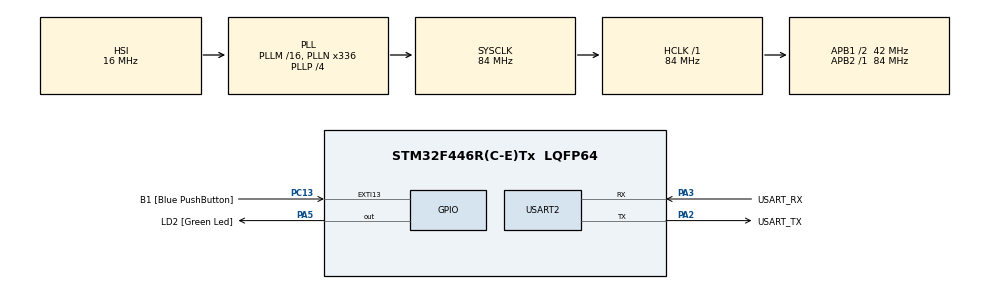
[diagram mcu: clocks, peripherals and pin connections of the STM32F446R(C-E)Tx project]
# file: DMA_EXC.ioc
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Mcu.Family=STM32F4
PH0-OSC_IN.Signal=RCC_OSC_IN
RCC.CortexFreq_Value=84000000
PA14.GPIO_Label=TCK
Dma.MEMTOMEM.1.FIFOMode=DMA_FIFOMODE_ENABLE
Dma.MEMTOMEM.1.PeriphInc=DMA_PINC_DISABLE
PC13.GPIO_Label=B1 [Blue PushButton]
Dma.MEMTOMEM.1.Priority=DMA_PRIORITY_LOW
RCC.SYSCLKSource=RCC_SYSCLKSOURCE_PLLCLK
ProjectManager.StackSize=0x400
Dma.USART2_RX.0.Priority=DMA_PRIORITY_LOW
Dma.USART2_RX.0.PeriphDataAlignment=DMA_PDATAALIGN_BYTE
RCC.HCLKFreq_Value=84000000
RCC.APB2TimFreq_Value=84000000
NVIC.DMA2_Stream0_IRQn=true\:0\:0\:false\:false\:true\:true\:true
RCC.AHBFreq_Value=84000000
PH0-OSC_IN.Mode=HSE-External-Oscillator
RCC.HSE_VALUE=8000000
Dma.MEMTOMEM.1.MemBurst=DMA_MBURST_SINGLE
Dma.USART2_RX.0.MemDataAlignment=DMA_MDATAALIGN_BYTE
PC14-OSC32_IN.Mode=LSE-External-Oscillator
PA14.Mode=Serial_Wire
Dma.USART2_RX.0.Instance=DMA1_Stream5
RCC.FLatency-AdvancedSettings=FLASH_LATENCY_2
Dma.MEMTOMEM.1.MemInc=DMA_MINC_DISABLE
PH1-OSC_OUT.Mode=HSE-External-Oscillator
Mcu.Package=LQFP64
Dma.MEMTOMEM.1.Instance=DMA2_Stream0
Dma.MEMTOMEM.1.PeriphBurst=DMA_PBURST_SINGLE
Dma.USART2_RX.0.PeriphInc=DMA_PINC_DISABLE
USART2.VirtualMode=VM_ASYNC
Dma.USART2_RX.0.FIFOMode=DMA_FIFOMODE_DISABLE
PA2.GPIO_Label=USART_TX
Dma.MEMTOMEM.1.FIFOThreshold=DMA_FIFO_THRESHOLD_FULL
Dma.Request1=MEMTOMEM
RCC.APB1TimFreq_Value=84000000
Dma.Request0=USART2_RX
PA3.Signal=USART2_RX
PB3.GPIO_Label=SWO
PC15-OSC32_OUT.Mode=LSE-External-Oscillator
PC13.Signal=GPXTI13
Dma.USART2_RX.0.Direction=DMA_PERIPH_TO_MEMORY
RCC.APB1CLKDivider=RCC_HCLK_DIV2
PC14-OSC32_IN.Signal=RCC_OSC32_IN
Dma.USART2_RX.0.Mode=DMA_NORMAL
PA13.Signal=SYS_JTMS-SWDIO
PA3.Mode=Asynchronous
ProjectManager.TargetToolchain=STM32CubeIDE
NVIC.DMA1_Stream5_IRQn=true\:0\:0\:false\:false\:true\:false\:true
RCC.USBFreq_Value=168000000
PC15-OSC32_OUT.Signal=RCC_OSC32_OUT
Dma.MEMTOMEM.1.Mode=DMA_NORMAL
PA5.Signal=GPIO_Output
board=NUCLEO-F446RE
RCC.VCOOutputFreq_Value=336000000
Dma.MEMTOMEM.1.MemDataAlignment=DMA_MDATAALIGN_BYTE
RCC.APB2Freq_Value=84000000
Dma.MEMTOMEM.1.PeriphDataAlignment=DMA_PDATAALIGN_BYTE
PH1-OSC_OUT.Signal=RCC_OSC_OUT
Dma.MEMTOMEM.1.Direction=DMA_MEMORY_TO_MEMORY
PA13.Mode=Serial_Wire
Mcu.Name=STM32F446R(C-E)Tx
Dma.USART2_RX.0.MemInc=DMA_MINC_ENABLE
PA13.GPIO_Label=TMS
PA2.Signal=USART2_TX
RCC.48MHZClocksFreq_Value=84000000
PB3.Signal=SYS_JTDO-SWO
RCC.SYSCLKFreq_VALUE=84000000
PA5.GPIO_Label=LD2 [Green Led]
PC13.GPIO_ModeDefaultEXTI=GPIO_MODE_IT_FALLING
PA14.Signal=SYS_JTCK-SWCLK
ProjectManager.HeapSize=0x200
RCC.HSI_VALUE=16000000
RCC.PLLP=RCC_PLLP_DIV4
NVIC.PriorityGroup=NVIC_PRIORITYGROUP_0
RCC.PLLN=336
PA2.Mode=Asynchronous
RCC.APB1Freq_Value=42000000
PA3.GPIO_Label=USART_RX

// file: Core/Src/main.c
/* USER CODE BEGIN Header */
/**
  ******************************************************************************
  * @file           : main.c
  * @brief          : Main program body
  ******************************************************************************
  * @attention
  *
  * <h2><center>&copy; Copyright (c) 2021 STMicroelectronics.
  * All rights reserved.</center></h2>
  *
  * This software component is licensed by ST under BSD 3-Clause license,
  * the "License"; You may not use this file except in compliance with the
  * License. You may obtain a copy of the License at:
  *                        opensource.org/licenses/BSD-3-Clause
  *
  ******************************************************************************
  */
/* USER CODE END Header */
#include "main.h"

/* USER CODE BEGIN PM */
#define OFFSET 			0x800UL
#define DEST 			(SRAM1_BASE + OFFSET)
/* USER CODE END PM */

UART_HandleTypeDef huart2;
DMA_HandleTypeDef hdma_usart2_rx;

DMA_HandleTypeDef hdma_memtomem_dma2_stream0;

void SystemClock_Config(void);
static void MX_GPIO_Init(void);
static void MX_DMA_Init(void);
static void MX_USART2_UART_Init(void);
/* USER CODE BEGIN PFP */
void my_Dma_TC_cb( DMA_HandleTypeDef *pHandle);
/* USER CODE END PFP */

/* USER CODE BEGIN 0 */
uint8_t led_data[2] = {0x96, 0x69};
uint32_t pres_tick;
volatile char* destination = (char*) SRAM2_BASE;

void derived(DMA_HandleTypeDef *hdma_memtomem_dma2_stream0, uint8_t led_data[2],uint32_t pres_tick, volatile char *destination);
/* USER CODE END 0 */

int main(void)
{

  /* MCU Configuration--------------------------------------------------------*/

  /* Reset of all peripherals, Initializes the Flash interface and the Systick. */
  HAL_Init();

  /* Configure the system clock */
  SystemClock_Config();

  /* Initialize all configured peripherals */
  MX_GPIO_Init();
  MX_DMA_Init();
  MX_USART2_UART_Init();
  /* USER CODE BEGIN 2 */
 // HAL_DMA_RegisterCallback(&hdma_memtomem_dma2_stream0, HAL_DMA_XFER_CPLT_CB_ID, &my_Dma_TC_cb);

  /* USER CODE END 2 */

  /* Infinite loop */
  while (1)
  {

    /* USER CODE BEGIN 3 */
		//derived(&hdma_memtomem_dma2_stream0, led_data, pres_tick, destination);
		HAL_UART_Receive_DMA(&huart2, (uint8_t *)DEST, 20);

  }
  /* USER CODE END 3 */
}

void SystemClock_Config(void)
{
  RCC_OscInitTypeDef RCC_OscInitStruct = {0};
  RCC_ClkInitTypeDef RCC_ClkInitStruct = {0};

  /** Configure the main internal regulator output voltage
  */
  __HAL_RCC_PWR_CLK_ENABLE();
  __HAL_PWR_VOLTAGESCALING_CONFIG(PWR_REGULATOR_VOLTAGE_SCALE3);
  /** Initializes the RCC Oscillators according to the specified parameters
  * in the RCC_OscInitTypeDef structure.
  */
  RCC_OscInitStruct.OscillatorType = RCC_OSCILLATORTYPE_HSI;
  RCC_OscInitStruct.HSIState = RCC_HSI_ON;
  RCC_OscInitStruct.HSICalibrationValue = RCC_HSICALIBRATION_DEFAULT;
  RCC_OscInitStruct.PLL.PLLState = RCC_PLL_ON;
  RCC_OscInitStruct.PLL.PLLSource = RCC_PLLSOURCE_HSI;
  RCC_OscInitStruct.PLL.PLLM = 16;
  RCC_OscInitStruct.PLL.PLLN = 336;
  RCC_OscInitStruct.PLL.PLLP = RCC_PLLP_DIV4;
  RCC_OscInitStruct.PLL.PLLQ = 2;
  RCC_OscInitStruct.PLL.PLLR = 2;
  if (HAL_RCC_OscConfig(&RCC_OscInitStruct) != HAL_OK)
  {
    Error_Handler();
  }
  /** Initializes the CPU, AHB and APB buses clocks
  */
  RCC_ClkInitStruct.ClockType = RCC_CLOCKTYPE_HCLK|RCC_CLOCKTYPE_SYSCLK
                              |RCC_CLOCKTYPE_PCLK1|RCC_CLOCKTYPE_PCLK2;
  RCC_ClkInitStruct.SYSCLKSource = RCC_SYSCLKSOURCE_PLLCLK;
  RCC_ClkInitStruct.AHBCLKDivider = RCC_SYSCLK_DIV1;
  RCC_ClkInitStruct.APB1CLKDivider = RCC_HCLK_DIV2;
  RCC_ClkInitStruct.APB2CLKDivider = RCC_HCLK_DIV1;

  if (HAL_RCC_ClockConfig(&RCC_ClkInitStruct, FLASH_LATENCY_2) != HAL_OK)
  {
    Error_Handler();
  }
}

static void MX_USART2_UART_Init(void)
{

  huart2.Instance = USART2;
  huart2.Init.BaudRate = 115200;
  huart2.Init.WordLength = UART_WORDLENGTH_8B;
  huart2.Init.StopBits = UART_STOPBITS_1;
  huart2.Init.Parity = UART_PARITY_NONE;
  huart2.Init.Mode = UART_MODE_TX_RX;
  huart2.Init.HwFlowCtl = UART_HWCONTROL_NONE;
  huart2.Init.OverSampling = UART_OVERSAMPLING_16;
  if (HAL_UART_Init(&huart2) != HAL_OK)
  {
    Error_Handler();
  }

}

static void MX_DMA_Init(void)
{

  /* DMA controller clock enable */
  __HAL_RCC_DMA1_CLK_ENABLE();
  __HAL_RCC_DMA2_CLK_ENABLE();

  /* Configure DMA request hdma_memtomem_dma2_stream0 on DMA2_Stream0 */
  hdma_memtomem_dma2_stream0.Instance = DMA2_Stream0;
  hdma_memtomem_dma2_stream0.Init.Channel = DMA_CHANNEL_0;
  hdma_memtomem_dma2_stream0.Init.Direction = DMA_MEMORY_TO_MEMORY;
  hdma_memtomem_dma2_stream0.Init.PeriphInc = DMA_PINC_DISABLE;
  hdma_memtomem_dma2_stream0.Init.MemInc = DMA_MINC_DISABLE;
  hdma_memtomem_dma2_stream0.Init.PeriphDataAlignment = DMA_PDATAALIGN_BYTE;
  hdma_memtomem_dma2_stream0.Init.MemDataAlignment = DMA_MDATAALIGN_BYTE;
  hdma_memtomem_dma2_stream0.Init.Mode = DMA_NORMAL;
  hdma_memtomem_dma2_stream0.Init.Priority = DMA_PRIORITY_LOW;
  hdma_memtomem_dma2_stream0.Init.FIFOMode = DMA_FIFOMODE_ENABLE;
  hdma_memtomem_dma2_stream0.Init.FIFOThreshold = DMA_FIFO_THRESHOLD_FULL;
  hdma_memtomem_dma2_stream0.Init.MemBurst = DMA_MBURST_SINGLE;
  hdma_memtomem_dma2_stream0.Init.PeriphBurst = DMA_PBURST_SINGLE;
  if (HAL_DMA_Init(&hdma_memtomem_dma2_stream0) != HAL_OK)
  {
    Error_Handler( );
  }

  /* DMA interrupt init */
  /* DMA1_Stream5_IRQn interrupt configuration */
  HAL_NVIC_SetPriority(DMA1_Stream5_IRQn, 0, 0);
  HAL_NVIC_EnableIRQ(DMA1_Stream5_IRQn);
  /* DMA2_Stream0_IRQn interrupt configuration */
  HAL_NVIC_SetPriority(DMA2_Stream0_IRQn, 0, 0);
  HAL_NVIC_EnableIRQ(DMA2_Stream0_IRQn);

}

static void MX_GPIO_Init(void)
{
  GPIO_InitTypeDef GPIO_InitStruct = {0};

  /* GPIO Ports Clock Enable */
  __HAL_RCC_GPIOC_CLK_ENABLE();
  __HAL_RCC_GPIOH_CLK_ENABLE();
  __HAL_RCC_GPIOA_CLK_ENABLE();
  __HAL_RCC_GPIOB_CLK_ENABLE();

  /*Configure GPIO pin Output Level */
  HAL_GPIO_WritePin(LD2_GPIO_Port, LD2_Pin, GPIO_PIN_RESET);

  /*Configure GPIO pin : B1_Pin */
  GPIO_InitStruct.Pin = B1_Pin;
  GPIO_InitStruct.Mode = GPIO_MODE_IT_FALLING;
  GPIO_InitStruct.Pull = GPIO_NOPULL;
  HAL_GPIO_Init(B1_GPIO_Port, &GPIO_InitStruct);

  /*Configure GPIO pin : LD2_Pin */
  GPIO_InitStruct.Pin = LD2_Pin;
  GPIO_InitStruct.Mode = GPIO_MODE_OUTPUT_PP;
  GPIO_InitStruct.Pull = GPIO_NOPULL;
  GPIO_InitStruct.Speed = GPIO_SPEED_FREQ_LOW;
  HAL_GPIO_Init(LD2_GPIO_Port, &GPIO_InitStruct);

}

/* USER CODE BEGIN 4 */
void my_Dma_TC_cb( DMA_HandleTypeDef *pHandle)
{

}

void HAL_UART_RxCpltCallback(UART_HandleTypeDef *huart)
{

  UNUSED(huart);

}

void derived(DMA_HandleTypeDef *hdma_memtomem_dma2_stream0, uint8_t led_data[2],uint32_t pres_tick, volatile char *destination) {
	/* USER CODE END WHILE */
	/* USER CODE BEGIN 3 */
	HAL_DMA_Start_IT(&*hdma_memtomem_dma2_stream0, (uint32_t) &led_data[0],
			(uint32_t) &destination[0], 1);
	pres_tick = HAL_GetTick();
	while ((pres_tick + 1000) >= HAL_GetTick());

	HAL_DMA_Start_IT(&*hdma_memtomem_dma2_stream0, (uint32_t) &led_data[1],
			(uint32_t) &destination[1], 1);
	pres_tick = HAL_GetTick();
	while ((pres_tick + 1000) >= HAL_GetTick());

}
/* USER CODE END 4 */

void Error_Handler(void)
{
  __disable_irq();
  while (1)
  {
  }
}

/************************ (C) COPYRIGHT STMicroelectronics *****END OF FILE****/
